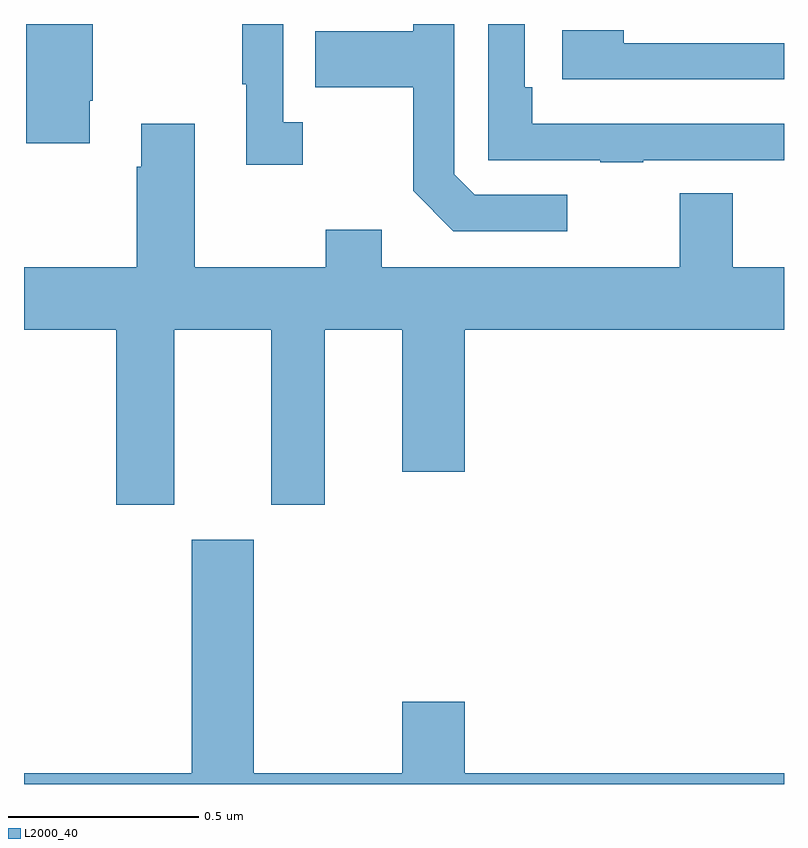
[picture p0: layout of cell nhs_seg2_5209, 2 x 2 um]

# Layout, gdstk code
import gdstk
lib = gdstk.Library(unit=1e-6, precision=1e-09)
def P(c, l, *ps):  # polygons
    for p in ps: c.add(gdstk.Polygon(p, *l))
L2000_40 = (2000, 40)

nhs_seg2_5209 = lib.new_cell('nhs_seg2_5209')
P(nhs_seg2_5209, L2000_40, [(176.173,621.598),(176.181,621.598),(176.181,621.8),(176.006,621.8),(176.006,621.486),(176.173,621.486)],
  [(177.629,621.441),(178,621.441),(178,621.537),(177.338,621.537),(177.338,621.634),(177.318,621.634),(177.318,621.8),(177.222,621.8),(177.222,621.441),(177.517,621.441),(177.517,621.436),(177.629,621.436)],
  [(177.43,621.351),(177.186,621.351),(177.132,621.405),(177.132,621.8),(177.024,621.8),(177.024,621.781),(176.767,621.781),(176.767,621.634),(177.024,621.634),(177.024,621.361),(177.129,621.255),(177.43,621.255)],
  [(176.734,621.542),(176.682,621.542),(176.682,621.8),(176.574,621.8),(176.574,621.641),(176.585,621.641),(176.585,621.429),(176.734,621.429)],
  [(178,621.75),(177.578,621.75),(177.578,621.784),(177.417,621.784),(177.417,621.654),(178,621.654)],
  [(176.395,620.996),(176.651,620.996),(176.651,620.535),(176.791,620.535),(176.791,620.996),(176.996,620.996),(176.996,620.622),(177.16,620.622),(177.16,620.996),(178,620.996),(178,621.16),(177.865,621.16),(177.865,621.355),(177.725,621.355),(177.725,621.16),(176.941,621.16),(176.941,621.259),(176.794,621.259),(176.794,621.16),(176.449,621.16),(176.449,621.538),(176.309,621.538),(176.309,621.425),(176.297,621.425),(176.297,621.16),(176,621.16),(176,620.996),(176.243,620.996),(176.243,620.535),(176.395,620.535)],
  [(178,619.828),(177.16,619.828),(177.16,620.017),(176.996,620.017),(176.996,619.828),(176.605,619.828),(176.605,620.443),(176.441,620.443),(176.441,619.828),(176,619.828),(176,619.8),(178,619.8)])

lib.write_gds('nhs_seg2_5209.gds')
